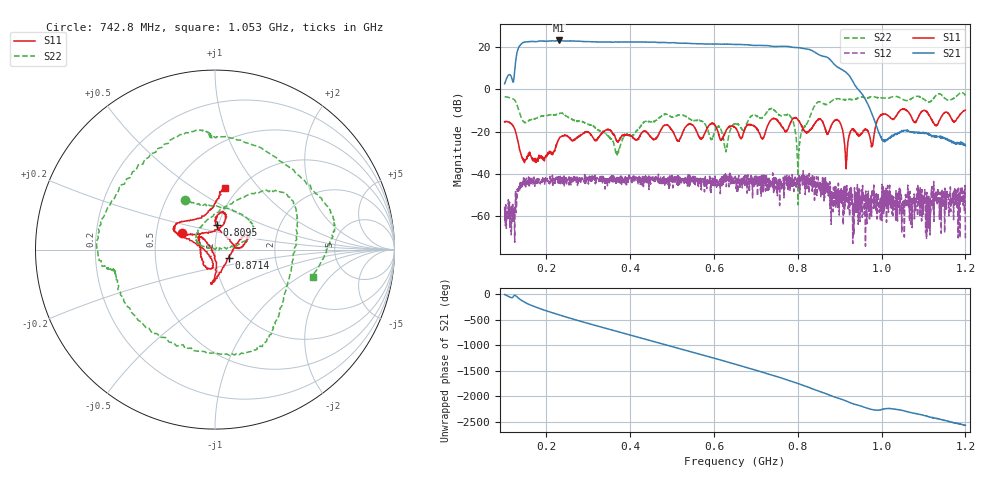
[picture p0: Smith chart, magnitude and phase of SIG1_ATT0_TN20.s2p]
# Hz S DB R 50
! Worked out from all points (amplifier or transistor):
!   1601 points, 100 MHz to 1.2 GHz, reference 50 ohm
!   highest |S21| = 23.2 dB at 229.2 MHz (marker M1)
!   |S21| within 3 dB of that: 134.3 MHz to 782.3 MHz (648 MHz wide, 141 % of centre)
!   unconditionally stable (mu >= 1): start of sweep to end of sweep
!   at 282.9 MHz: K = 4.75, MAG = 22.9 dB, |S12| = -42.6 dB
!   at 650 MHz: K = 6.44, MAG = 21.4 dB, |S12| = -43.8 dB
!   at 1.2 GHz: K = 15631.92, MAG = -23.0 dB, |S12| = -70.5 dB
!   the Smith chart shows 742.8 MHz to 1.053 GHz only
!   S11 on the Smith chart (normalised r, x): 742.8 MHz: 0.68, +0.13; 809.5 MHz: 0.98, +0.28; 871.4 MHz: 1.16, -0.11; 1.053 GHz: 0.87, +0.68
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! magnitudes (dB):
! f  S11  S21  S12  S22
! 100 MHz  -15.4  2.6  -55.5  -3.5
! 119.9 MHz  -17.1  3.4  -62.5  -4.5
! 146.8 MHz  -33.5  22.4  -42.1  -15.6
! 229.2 MHz  -23.8  23.2  -43.3  -11.5
! 283.6 MHz  -21.5  22.7  -42.9  -15.1
! 368.8 MHz  -24.6  22.4  -44.1  -31.0
! 467.1 MHz  -21.7  22.2  -40.1  -13.7
! 611.5 MHz  -21.3  21.4  -45.3  -17.3
! 628 MHz  -20.0  21.4  -43.8  -28.9
! 650 MHz  -18.0  21.3  -43.8  -16.2
! 742.8 MHz  -13.7  20.3  -41.7  -9.9
! 784.1 MHz  -15.3  20.1  -45.4  -13.3
! 800.6 MHz  -14.5  19.8  -41.8  -54.6
! 809.5 MHz  -17.2  19.5  -41.7  -19.8
! 833.6 MHz  -18.5  18.4  -41.7  -10.5
! 871.4 MHz  -21.0  15.0  -48.9  -7.0
! 896.8 MHz  -14.8  10.4  -44.4  -4.4
! 916.1 MHz  -33.6  7.8  -53.5  -4.9
! 1.017 GHz  -12.7  -23.2  -50.4  -4.1
! 1.053 GHz  -9.2  -19.6  -54.3  -5.0
! 1.194 GHz  -10.5  -26.0  -50.6  -1.7
! 1.2 GHz  -9.8  -26.7  -70.5  -2.9
